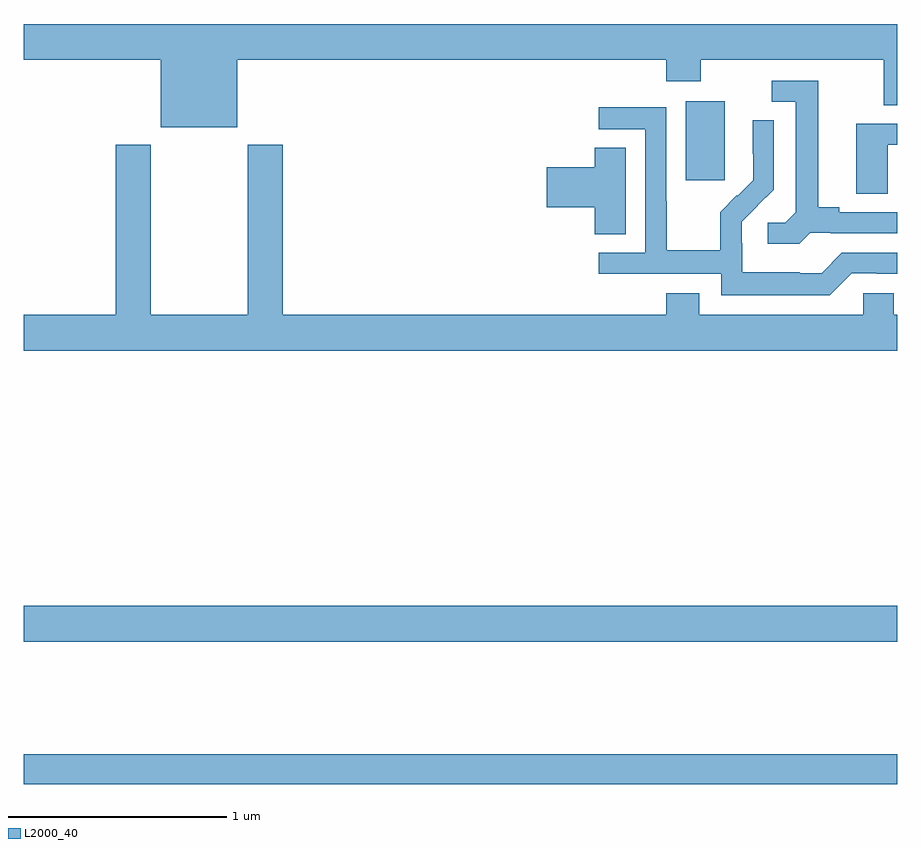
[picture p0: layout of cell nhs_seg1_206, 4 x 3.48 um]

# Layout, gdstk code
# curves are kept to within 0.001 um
import gdstk
lib = gdstk.Library(unit=1e-6, precision=1e-09)
def R(c, l, rs):  # rectangles x0, y0, x1, y1
    for r in rs: c.add(gdstk.rectangle(r[:2], r[2:], *l))
def P(c, l, *ps):  # polygons
    for p in ps: c.add(gdstk.Polygon(p, *l))
L2000_40 = (2000, 40)

nhs_seg1_206 = lib.new_cell('nhs_seg1_206')
R(nhs_seg1_206, L2000_40, [(121,552.412,125,552.548), (121,553.064,125,553.228), (124.031,555.177,124.21,555.538)])
P(nhs_seg1_206, L2000_40, [(121.978,555.728),(123.941,555.728),(123.941,555.629),(124.101,555.629),(124.101,555.728),(124.937,555.728),(124.937,555.52),(125,555.52),(125,555.892),(121,555.892),(121,555.728),(121.628,555.728),(121.628,555.419),(121.978,555.419)],
  [(124.602,554.937),(124.696,554.937),(124.696,554.934),(125,554.934),(125,555.03),(124.735,555.03),(124.735,555.053),(124.639,555.053),(124.639,555.633),(124.425,555.633),(124.425,555.537),(124.535,555.537),(124.535,555.029),(124.488,554.982),(124.407,554.982),(124.407,554.885),(124.55,554.885)],
  [(124.791,554.751),(124.907,554.751),(124.907,554.748),(125,554.748),(125,554.844),(124.746,554.844),(124.653,554.751),(124.553,554.751),(124.553,554.755),(124.29,554.755),(124.29,554.889),(124.288,554.889),(124.288,554.986),(124.434,555.134),(124.434,555.452),(124.338,555.452),(124.338,555.298),(124.34,555.298),(124.34,555.176),(124.269,555.105),(124.266,555.108),(124.189,555.031),(124.189,554.857),(123.945,554.857),(123.945,555.08),(123.942,555.08),(123.942,555.51),(123.633,555.51),(123.633,555.411),(123.846,555.411),(123.846,554.844),(123.633,554.844),(123.633,554.748),(124.194,554.748),(124.194,554.651),(124.691,554.651)],
  [(124.956,555.339),(125,555.339),(125,555.435),(124.811,555.435),(124.811,555.115),(124.956,555.115)],
  [(125,554.56),(124.983,554.56),(124.983,554.658),(124.845,554.658),(124.845,554.56),(124.093,554.56),(124.093,554.659),(123.941,554.659),(123.941,554.56),(122.186,554.56),(122.186,555.34),(122.026,555.34),(122.026,554.56),(121.581,554.56),(121.581,555.34),(121.421,555.34),(121.421,554.56),(121,554.56),(121,554.396),(125,554.396)],
  [(123.757,555.326),(123.614,555.326),(123.614,555.236),(123.396,555.236),(123.396,555.053),(123.614,555.053),(123.614,554.929),(123.757,554.929)])

lib.write_gds('nhs_seg1_206.gds')
